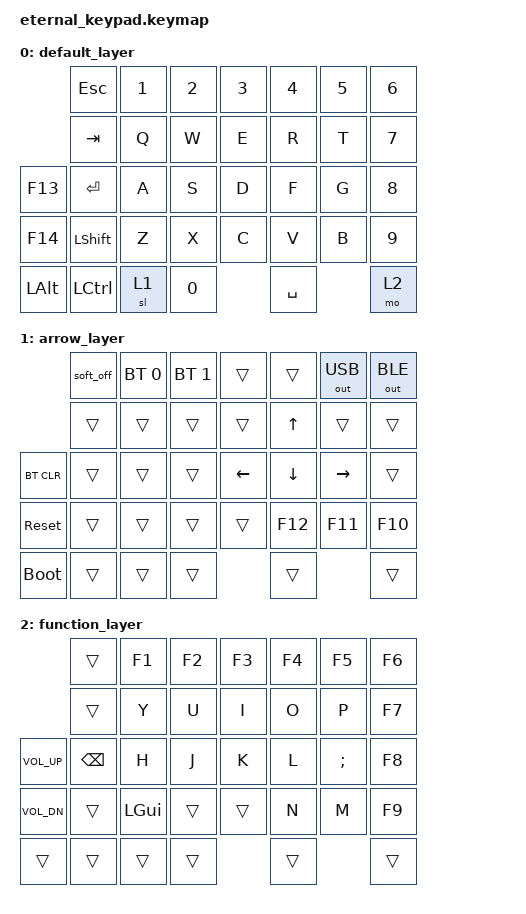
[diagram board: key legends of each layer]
/*
 * Copyright (c) 2022 The ZMK Contributors
 *
 * SPDX-License-Identifier: MIT
 */

#include <behaviors.dtsi>
#include <dt-bindings/zmk/bt.h>
#include <dt-bindings/zmk/keys.h>
#include <dt-bindings/zmk/outputs.h>

#define BASE        0
#define ARROW       1
#define FUNC        2

/ {
    chosen {
        zmk,kscan = &kscan0;
        zmk,matrix-transform = &default_transform;
    };

    keymap {
        compatible = "zmk,keymap";

        default_layer {
            bindings = <
              &kp ESC    &kp N1  &kp N2        &kp N3  &kp N4     &kp N5  &kp N6
              &kp TAB    &kp Q   &kp W         &kp E   &kp R      &kp T   &kp N7
&kp F13       &kp ENTER  &kp A   &kp S         &kp D   &kp F      &kp G   &kp N8
&kp F14       &kp LSHFT  &kp Z   &kp X         &kp C   &kp V      &kp B   &kp N9
&kp LEFT_ALT  &kp LCTRL  &sl 1   &kp NUMBER_0          &kp SPACE          &mo 2
            >;
        };

        arrow_layer {
            bindings = <
             &soft_off  &bt BT_SEL 0  &bt BT_SEL 1  &trans          &trans        &out OUT_USB  &out OUT_BLE
             &trans     &trans        &trans        &trans          &kp UP_ARROW  &trans        &trans
&bt BT_CLR   &trans     &trans        &trans        &kp LEFT_ARROW  &kp DOWN      &kp RIGHT     &trans
&sys_reset   &trans     &trans        &trans        &trans          &kp F12       &kp F11       &kp F10
&bootloader  &trans     &trans        &trans                        &trans                      &trans
            >;
        };

        function_layer {
            bindings = <
                 &trans    &kp F1    &kp F2  &kp F3  &kp F4  &kp F5         &kp F6
                 &trans    &kp Y     &kp U   &kp I   &kp O   &kp P          &kp F7
&kp C_VOLUME_UP  &kp BSPC  &kp H     &kp J   &kp K   &kp L   &kp SEMICOLON  &kp F8
&kp C_VOL_DN     &trans    &kp LGUI  &trans  &trans  &kp N   &kp M          &kp F9
&trans           &trans    &trans    &trans          &trans                 &trans
            >;
        };
    };
};
